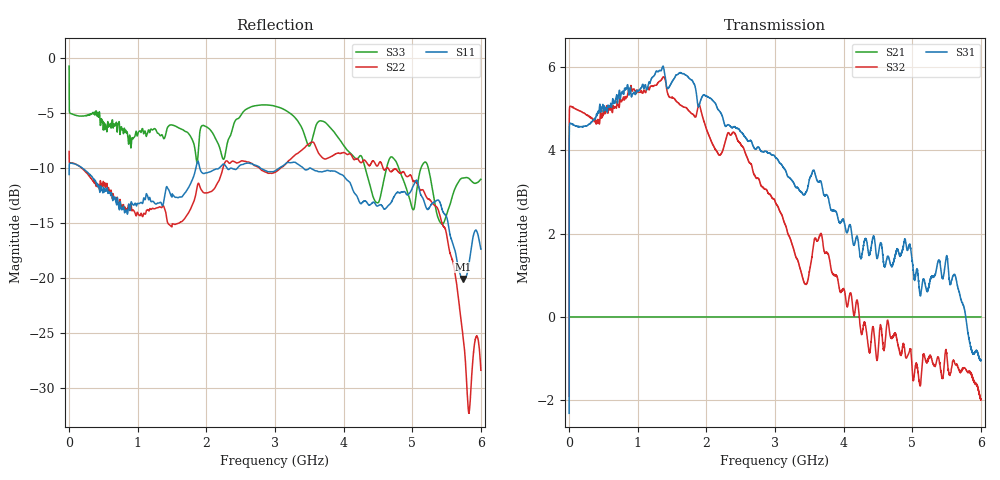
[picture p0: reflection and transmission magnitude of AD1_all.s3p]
!Created with skrf (http://scikit-rf.org).
# MHz S RI R 50.0
!freq ReS11 ImS11 ReS12 ImS12 ReS13 ImS13
! ReS21 ImS21 ReS22 ImS22 ReS23 ImS23
! ReS31 ImS31 ReS32 ImS32 ReS33 ImS33
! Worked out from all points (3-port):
!   10001 points, 300 kHz to 6 GHz, reference 50 ohm
!   strongest paths, dB at 300 kHz, 1.5 GHz, 3 GHz, 4.5 GHz, 6 GHz:
!     S31: -2.3, 5.7, 3.8, 1.5, -1.0
!     S32: -1.9, 5.3, 2.8, -0.9, -2.0
!     S21: 0.0, 0.0, 0.0, 0.0, 0.0
!   lowest |S11| = -20.1 dB at 5.734 GHz (marker M1), VSWR 1.22, Z = 56.9 + j8.04 ohm
!   |S11| at or under -10 dB: 192 MHz to 1.846 GHz (1.654 GHz wide, 162 % of centre); 1.904 GHz to 2.187 GHz (282.9 MHz wide, 13.8 % of centre); 3.517 GHz to end of sweep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
0.3  0.2953 0.0125  1 0  0.00913 0.0178
     1 0  0.3756 -0.0164  0.00923 0.0178
     -0.3444 -0.6842  0.3635 0.7166  0.6831 -0.614
454.4773  0.2097 -0.145  1 0  -0.0586 -0.038
          1 0  0.2326 -0.1506  -0.0611 -0.0435
          1.771 -0.1893  -1.755 0.1245  0.0771 0.4884
886.4557  0.1348 -0.1529  1 0  0.0414 0.0387
          1 0  0.1189 -0.1666  0.0441 0.0417
          -1.87 0.1986  1.854 -0.0592  0.4382 0.0516
1307.035  0.1192 -0.184  1 0  -0.00581 -0.0406
          1 0  0.1022 -0.183  -0.00921 -0.04
          1.972 -0.0778  -1.915 -0.0619  0.1709 -0.4191
1734.813  0.034 -0.2537  1 0  -0.043 0.048
          1 0  0.0464 -0.1912  -0.0383 0.0523
          -1.938 0.1297  1.772 0.0417  -0.4358 -0.1339
2149.992  -0.0395 -0.3109  1 0  0.0946 -0.069
          1 0  0.065 -0.2582  0.0912 -0.0743
          1.789 0.0556  -1.561 -0.2551  -0.1228 0.4016
2597.57  -0.2287 -0.2418  1 0  -0.00845 0.0427
         1 0  -0.1786 -0.2856  -0.0107 0.0489
         -1.627 0.0719  1.552 0.0309  0.4728 0.3513
3000.15  -0.2776 -0.1316  1 0  0.0576 0.0117
         1 0  -0.2239 -0.204  0.0615 0.00206
         1.529 0.2952  -1.341 -0.3121  0.4519 -0.4022
5734.213  0.0702 0.0699  1 0  0.0992 0.0228
          1 0  0.0516 -0.0217  0.064 -0.0234
          0.6347 -0.8188  -0.4558 0.7349  -0.2836 0.0261
6000  0.1341 0.0168  1 0  -0.000692 -0.1133
      1 0  0.0336 0.0179  -0.00558 -0.0563
      -0.8462 -0.2689  0.7958 0.0359  -0.1521 0.2366
